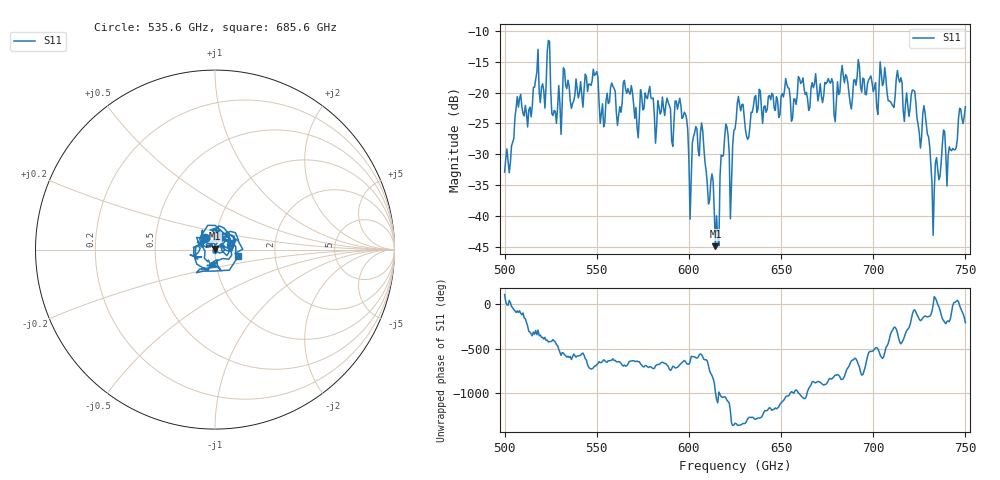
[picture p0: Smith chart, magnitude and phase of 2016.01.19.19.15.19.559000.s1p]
!Created with skrf (http://scikit-rf.org).
# GHz S RI R 50.0
!freq ReS11 ImS11
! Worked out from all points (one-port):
!   401 points, 500 GHz to 750 GHz, reference 50 ohm
!   lowest |S11| = -44.9 dB at 614.4 GHz (marker M1), VSWR 1.01, Z = 50 + j0.569 ohm
!   |S11| at or under -10 dB: start of sweep to end of sweep
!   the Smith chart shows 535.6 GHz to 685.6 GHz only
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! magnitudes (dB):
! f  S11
! 500 GHz  -32.9
! 516.9 GHz  -17.8
! 520.6 GHz  -18.6
! 523.8 GHz  -11.6
! 526.9 GHz  -22.9
! 531.2 GHz  -21.9
! 549.4 GHz  -17.0
! 553.1 GHz  -21.8
! 558.8 GHz  -19.0
! 562.5 GHz  -22.3
! 565.6 GHz  -19.5
! 571.9 GHz  -25.7
! 593.8 GHz  -22.7
! 600.6 GHz  -40.5
! 607.5 GHz  -26.2
! 614.4 GHz  -44.9
! 615.6 GHz  -43.5
! 619.4 GHz  -27.3
! 623.1 GHz  -34.5
! 625 GHz  -25.9
! 656.2 GHz  -24.1
! 660.6 GHz  -18.5
! 687.5 GHz  -21.7
! 705 GHz  -18.9
! 718.8 GHz  -22.2
! 728.1 GHz  -23.3
! 732.5 GHz  -43.1
! 750 GHz  -22.3
